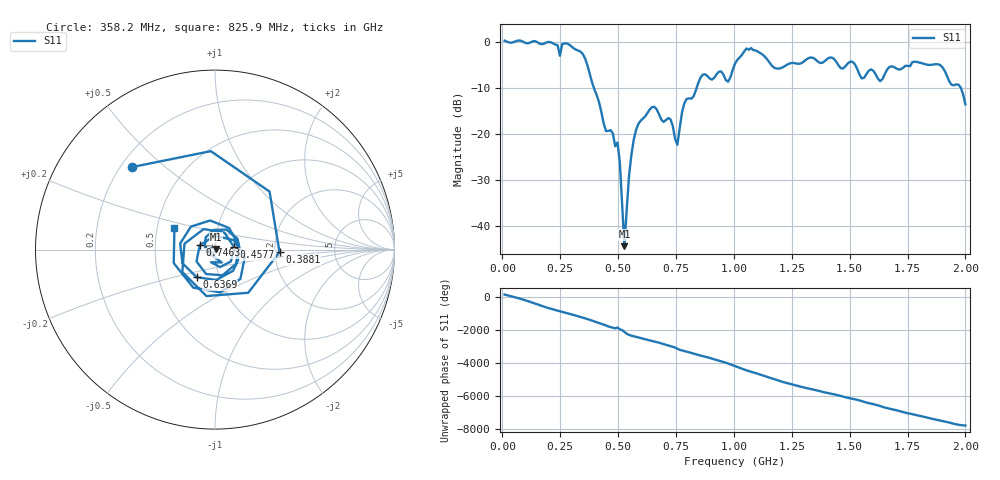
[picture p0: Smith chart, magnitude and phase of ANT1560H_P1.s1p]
!Created with skrf (http://scikit-rf.org).
# Hz S RI R 50.0
!freq ReS11 ImS11
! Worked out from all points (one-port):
!   201 points, 10 MHz to 2 GHz, reference 50 ohm
!   lowest |S11| = -44.3 dB at 527.4 MHz (marker M1), VSWR 1.01, Z = 50.5 + j0.382 ohm
!   |S11| at or under -10 dB: 395.7 MHz to 839.3 MHz (443.7 MHz wide, 71.9 % of centre); 1.98 GHz to end of sweep
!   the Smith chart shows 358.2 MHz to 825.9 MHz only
!   S11 on the Smith chart (normalised r, x): 358.2 MHz: 0.24, +0.39; 388.1 MHz: 2.12, -0.07; 457.8 MHz: 1.24, +0.03; 636.9 MHz: 0.78, -0.25; 746.3 MHz: 0.84, +0.04; 825.9 MHz: 0.62, +0.16
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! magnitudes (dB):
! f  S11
! 10 MHz  0.2
! 248.8 MHz  -3.0
! 258.8 MHz  -0.5
! 358.2 MHz  -3.7
! 388.1 MHz  -8.9
! 457.8 MHz  -19.3
! 497.6 MHz  -21.8
! 507.5 MHz  -26.0
! 527.4 MHz  -44.3
! 547.3 MHz  -29.1
! 567.2 MHz  -21.4
! 636.9 MHz  -14.7
! 726.4 MHz  -16.8
! 746.3 MHz  -21.0
! 756.2 MHz  -22.3
! 786.1 MHz  -13.3
! 825.9 MHz  -11.8
! 865.7 MHz  -7.1
! 975.1 MHz  -8.7
! 1.005 GHz  -4.8
! 1.075 GHz  -1.4
! 1.174 GHz  -5.6
! 1.254 GHz  -4.6
! 1.502 GHz  -4.3
! 1.632 GHz  -8.5
! 1.751 GHz  -5.2
! 1.891 GHz  -5.0
! 2 GHz  -13.5
